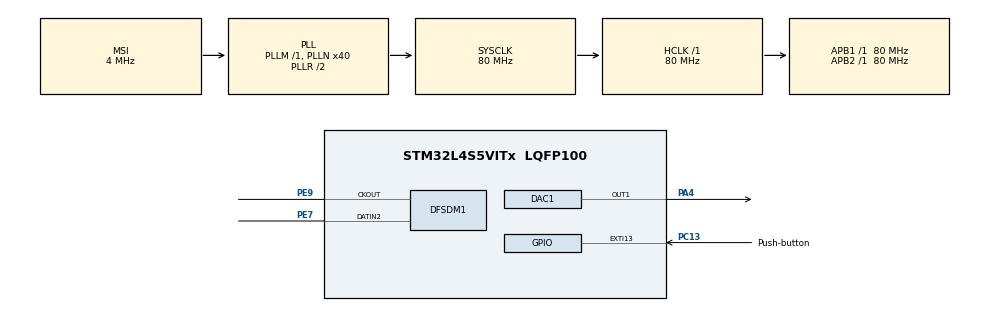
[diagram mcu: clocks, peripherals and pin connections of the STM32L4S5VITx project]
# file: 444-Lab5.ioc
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DAC1.DAC_Trigger-DAC_OUT1=DAC_TRIGGER_T2_TRGO
DFSDM1.Divider=34
DFSDM1.DmaMode_reg_FIL0=ENABLE
DFSDM1.FastMode_reg_FIL0=ENABLE
DFSDM1.Filter_regChannel_FIL0=DFSDM_CHANNEL_2
DFSDM1.Fosr_FIL0=240
DFSDM1.SincOrder_FIL0=DFSDM_FILTER_SINC3_ORDER
Dma.DAC1_CH1.1.Direction=DMA_MEMORY_TO_PERIPH
Dma.DAC1_CH1.1.EventEnable=DISABLE
Dma.DAC1_CH1.1.Instance=DMA1_Channel1
Dma.DAC1_CH1.1.MemDataAlignment=DMA_MDATAALIGN_WORD
Dma.DAC1_CH1.1.MemInc=DMA_MINC_ENABLE
Dma.DAC1_CH1.1.Mode=DMA_CIRCULAR
Dma.DAC1_CH1.1.PeriphDataAlignment=DMA_PDATAALIGN_WORD
Dma.DAC1_CH1.1.PeriphInc=DMA_PINC_DISABLE
Dma.DAC1_CH1.1.Polarity=HAL_DMAMUX_REQUEST_GEN_RISING
Dma.DAC1_CH1.1.Priority=DMA_PRIORITY_LOW
Dma.DAC1_CH1.1.RequestNumber=1
Dma.DAC1_CH1.1.SignalID=NONE
Dma.DAC1_CH1.1.SyncEnable=DISABLE
Dma.DAC1_CH1.1.SyncPolarity=HAL_DMAMUX_SYNC_NO_EVENT
Dma.DAC1_CH1.1.SyncRequestNumber=1
Dma.DAC1_CH1.1.SyncSignalID=NONE
Dma.DFSDM1_FLT0.0.Direction=DMA_PERIPH_TO_MEMORY
Dma.DFSDM1_FLT0.0.EventEnable=DISABLE
Dma.DFSDM1_FLT0.0.Instance=DMA1_Channel2
Dma.DFSDM1_FLT0.0.MemDataAlignment=DMA_MDATAALIGN_WORD
Dma.DFSDM1_FLT0.0.MemInc=DMA_MINC_ENABLE
Dma.DFSDM1_FLT0.0.Mode=DMA_NORMAL
Dma.DFSDM1_FLT0.0.PeriphDataAlignment=DMA_PDATAALIGN_WORD
Dma.DFSDM1_FLT0.0.PeriphInc=DMA_PINC_DISABLE
Dma.DFSDM1_FLT0.0.Polarity=HAL_DMAMUX_REQUEST_GEN_RISING
Dma.DFSDM1_FLT0.0.Priority=DMA_PRIORITY_LOW
Dma.DFSDM1_FLT0.0.RequestNumber=1
Dma.DFSDM1_FLT0.0.SignalID=NONE
Dma.DFSDM1_FLT0.0.SyncEnable=DISABLE
Dma.DFSDM1_FLT0.0.SyncPolarity=HAL_DMAMUX_SYNC_NO_EVENT
Dma.DFSDM1_FLT0.0.SyncRequestNumber=1
Dma.DFSDM1_FLT0.0.SyncSignalID=NONE
Dma.Request0=DFSDM1_FLT0
Dma.Request1=DAC1_CH1
Mcu.Family=STM32L4
Mcu.Name=STM32L4S5VITx
Mcu.Package=LQFP100
NVIC.DFSDM1_FLT0_IRQn=true\:0\:0\:false\:false\:true\:true\:true\:true
NVIC.DMA1_Channel1_IRQn=true\:0\:0\:false\:false\:true\:false\:true\:true
NVIC.DMA1_Channel2_IRQn=true\:0\:0\:false\:false\:true\:false\:true\:true
NVIC.EXTI15_10_IRQn=true\:0\:0\:false\:false\:true\:true\:true\:true
NVIC.PriorityGroup=NVIC_PRIORITYGROUP_4
NVIC.TIM2_IRQn=true\:0\:0\:false\:false\:true\:true\:true\:true
PA4.Signal=COMP_DAC11_group
PC13.GPIO_Label=Push-button
PC13.Signal=GPXTI13
PE7.Signal=S_DATAIN2DFSDM1
PE9.Signal=S_CKOUTDFSDM1
ProjectManager.HeapSize=0x200
ProjectManager.StackSize=0x400
ProjectManager.TargetToolchain=STM32CubeIDE
RCC.ADCFreq_Value=48000000
RCC.AHBFreq_Value=80000000
RCC.APB1Freq_Value=80000000
RCC.APB1TimFreq_Value=80000000
RCC.APB2Freq_Value=80000000
RCC.APB2TimFreq_Value=80000000
RCC.CortexFreq_Value=80000000
RCC.HCLKFreq_Value=80000000
RCC.HSE_VALUE=8000000
RCC.HSI48_VALUE=48000000
RCC.HSI_VALUE=16000000
RCC.LSE_VALUE=32768
RCC.MSI_VALUE=4000000
RCC.PLLN=40
RCC.PLLSAI1N=24
RCC.SYSCLKFreq_VALUE=80000000
RCC.SYSCLKSource=RCC_SYSCLKSOURCE_PLLCLK
RCC.USBFreq_Value=48000000
RCC.VCOOutputFreq_Value=160000000
SH.COMP_DAC11_group.0=DAC1_OUT1,DAC_OUT1
SH.S_CKOUTDFSDM1.0=DFSDM1_CKOUT,PDM_SPI_input_from_ch2_and_internal_clock
SH.S_CKOUTDFSDM1.1=DFSDM1_CKOUT,CKOUT
SH.S_DATAIN2DFSDM1.0=DFSDM1_DATIN2,PDM_SPI_input_from_ch2_and_internal_clock
TIM2.Period=8000
TIM2.TIM_MasterOutputTrigger=TIM_TRGO_UPDATE
VP_TIM2_VS_ClockSourceINT.Mode=Internal
board=B-L4S5I-IOT01A

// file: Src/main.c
/* USER CODE BEGIN Header */
/**
  ******************************************************************************
  * @file           : main.c
  * @brief          : Main program body
  ******************************************************************************
  * @attention
  *
  * Copyright (c) 2022 STMicroelectronics.
  * All rights reserved.
  *
  * This software is licensed under terms that can be found in the LICENSE file
  * in the root directory of this software component.
  * If no LICENSE file comes with this software, it is provided AS-IS.
  *
  ******************************************************************************
  */
/* USER CODE END Header */
#include "main.h"

DAC_HandleTypeDef hdac1;
DMA_HandleTypeDef hdma_dac1_ch1;

DFSDM_Filter_HandleTypeDef hdfsdm1_filter0;
DFSDM_Channel_HandleTypeDef hdfsdm1_channel2;
DMA_HandleTypeDef hdma_dfsdm1_flt0;

TIM_HandleTypeDef htim2;

/* USER CODE BEGIN PV */
#define BufferSize  30000
int32_t audioBuffer[BufferSize];	//audio buffer for  output
int32_t buffer[BufferSize];		//play back sound
uint32_t playBuffer[BufferSize];		//play back sound
/* USER CODE END PV */

void SystemClock_Config(void);
static void MX_GPIO_Init(void);
static void MX_DMA_Init(void);
static void MX_TIM2_Init(void);
static void MX_DFSDM1_Init(void);
static void MX_DAC1_Init(void);

int main(void)
{

  /* MCU Configuration--------------------------------------------------------*/

  /* Reset of all peripherals, Initializes the Flash interface and the Systick. */
  HAL_Init();
// counter : 10000, samplign 8000,

  /* Configure the system clock */
  SystemClock_Config();

  /* Initialize all configured peripherals */
  MX_GPIO_Init();
  MX_DMA_Init();
  MX_TIM2_Init();
  MX_DFSDM1_Init();
  MX_DAC1_Init();
  /* USER CODE BEGIN 2 */

  //Timer2 start to trigger DAC output
  HAL_TIM_Base_Start(&htim2);
  /* USER CODE END 2 */

  /* Infinite loop */
  while (1)
  {

  }
}

void SystemClock_Config(void)
{
  RCC_OscInitTypeDef RCC_OscInitStruct = {0};
  RCC_ClkInitTypeDef RCC_ClkInitStruct = {0};

  /** Configure the main internal regulator output voltage
  */
  if (HAL_PWREx_ControlVoltageScaling(PWR_REGULATOR_VOLTAGE_SCALE1) != HAL_OK)
  {
    Error_Handler();
  }

  /** Initializes the RCC Oscillators according to the specified parameters
  * in the RCC_OscInitTypeDef structure.
  */
  RCC_OscInitStruct.OscillatorType = RCC_OSCILLATORTYPE_MSI;
  RCC_OscInitStruct.MSIState = RCC_MSI_ON;
  RCC_OscInitStruct.MSICalibrationValue = 0;
  RCC_OscInitStruct.MSIClockRange = RCC_MSIRANGE_6;
  RCC_OscInitStruct.PLL.PLLState = RCC_PLL_ON;
  RCC_OscInitStruct.PLL.PLLSource = RCC_PLLSOURCE_MSI;
  RCC_OscInitStruct.PLL.PLLM = 1;
  RCC_OscInitStruct.PLL.PLLN = 40;
  RCC_OscInitStruct.PLL.PLLP = RCC_PLLP_DIV2;
  RCC_OscInitStruct.PLL.PLLQ = RCC_PLLQ_DIV2;
  RCC_OscInitStruct.PLL.PLLR = RCC_PLLR_DIV2;
  if (HAL_RCC_OscConfig(&RCC_OscInitStruct) != HAL_OK)
  {
    Error_Handler();
  }

  /** Initializes the CPU, AHB and APB buses clocks
  */
  RCC_ClkInitStruct.ClockType = RCC_CLOCKTYPE_HCLK|RCC_CLOCKTYPE_SYSCLK
                              |RCC_CLOCKTYPE_PCLK1|RCC_CLOCKTYPE_PCLK2;
  RCC_ClkInitStruct.SYSCLKSource = RCC_SYSCLKSOURCE_PLLCLK;
  RCC_ClkInitStruct.AHBCLKDivider = RCC_SYSCLK_DIV1;
  RCC_ClkInitStruct.APB1CLKDivider = RCC_HCLK_DIV1;
  RCC_ClkInitStruct.APB2CLKDivider = RCC_HCLK_DIV1;

  if (HAL_RCC_ClockConfig(&RCC_ClkInitStruct, FLASH_LATENCY_3) != HAL_OK)
  {
    Error_Handler();
  }
}

static void MX_DAC1_Init(void)
{

  DAC_ChannelConfTypeDef sConfig = {0};

  /** DAC Initialization
  */
  hdac1.Instance = DAC1;
  if (HAL_DAC_Init(&hdac1) != HAL_OK)
  {
    Error_Handler();
  }

  /** DAC channel OUT1 config
  */
  sConfig.DAC_SampleAndHold = DAC_SAMPLEANDHOLD_DISABLE;
  sConfig.DAC_Trigger = DAC_TRIGGER_T2_TRGO;
  sConfig.DAC_HighFrequency = DAC_HIGH_FREQUENCY_INTERFACE_MODE_ABOVE_80MHZ;
  sConfig.DAC_OutputBuffer = DAC_OUTPUTBUFFER_ENABLE;
  sConfig.DAC_ConnectOnChipPeripheral = DAC_CHIPCONNECT_DISABLE;
  sConfig.DAC_UserTrimming = DAC_TRIMMING_FACTORY;
  if (HAL_DAC_ConfigChannel(&hdac1, &sConfig, DAC_CHANNEL_1) != HAL_OK)
  {
    Error_Handler();
  }

}

static void MX_DFSDM1_Init(void)
{

  hdfsdm1_filter0.Instance = DFSDM1_Filter0;
  hdfsdm1_filter0.Init.RegularParam.Trigger = DFSDM_FILTER_SW_TRIGGER;
  hdfsdm1_filter0.Init.RegularParam.FastMode = ENABLE;
  hdfsdm1_filter0.Init.RegularParam.DmaMode = ENABLE;
  hdfsdm1_filter0.Init.FilterParam.SincOrder = DFSDM_FILTER_SINC3_ORDER;
  hdfsdm1_filter0.Init.FilterParam.Oversampling = 240;
  hdfsdm1_filter0.Init.FilterParam.IntOversampling = 1;
  if (HAL_DFSDM_FilterInit(&hdfsdm1_filter0) != HAL_OK)
  {
    Error_Handler();
  }
  hdfsdm1_channel2.Instance = DFSDM1_Channel2;
  hdfsdm1_channel2.Init.OutputClock.Activation = ENABLE;
  hdfsdm1_channel2.Init.OutputClock.Selection = DFSDM_CHANNEL_OUTPUT_CLOCK_SYSTEM;
  hdfsdm1_channel2.Init.OutputClock.Divider = 34;
  hdfsdm1_channel2.Init.Input.Multiplexer = DFSDM_CHANNEL_EXTERNAL_INPUTS;
  hdfsdm1_channel2.Init.Input.DataPacking = DFSDM_CHANNEL_STANDARD_MODE;
  hdfsdm1_channel2.Init.Input.Pins = DFSDM_CHANNEL_SAME_CHANNEL_PINS;
  hdfsdm1_channel2.Init.SerialInterface.Type = DFSDM_CHANNEL_SPI_RISING;
  hdfsdm1_channel2.Init.SerialInterface.SpiClock = DFSDM_CHANNEL_SPI_CLOCK_INTERNAL;
  hdfsdm1_channel2.Init.Awd.FilterOrder = DFSDM_CHANNEL_FASTSINC_ORDER;
  hdfsdm1_channel2.Init.Awd.Oversampling = 1;
  hdfsdm1_channel2.Init.Offset = 0;
  hdfsdm1_channel2.Init.RightBitShift = 0x00;
  if (HAL_DFSDM_ChannelInit(&hdfsdm1_channel2) != HAL_OK)
  {
    Error_Handler();
  }
  if (HAL_DFSDM_FilterConfigRegChannel(&hdfsdm1_filter0, DFSDM_CHANNEL_2, DFSDM_CONTINUOUS_CONV_ON) != HAL_OK)
  {
    Error_Handler();
  }

}

static void MX_TIM2_Init(void)
{

  TIM_ClockConfigTypeDef sClockSourceConfig = {0};
  TIM_MasterConfigTypeDef sMasterConfig = {0};

  htim2.Instance = TIM2;
  htim2.Init.Prescaler = 0;
  htim2.Init.CounterMode = TIM_COUNTERMODE_UP;
  htim2.Init.Period = 8000;
  htim2.Init.ClockDivision = TIM_CLOCKDIVISION_DIV1;
  htim2.Init.AutoReloadPreload = TIM_AUTORELOAD_PRELOAD_DISABLE;
  if (HAL_TIM_Base_Init(&htim2) != HAL_OK)
  {
    Error_Handler();
  }
  sClockSourceConfig.ClockSource = TIM_CLOCKSOURCE_INTERNAL;
  if (HAL_TIM_ConfigClockSource(&htim2, &sClockSourceConfig) != HAL_OK)
  {
    Error_Handler();
  }
  sMasterConfig.MasterOutputTrigger = TIM_TRGO_UPDATE;
  sMasterConfig.MasterSlaveMode = TIM_MASTERSLAVEMODE_DISABLE;
  if (HAL_TIMEx_MasterConfigSynchronization(&htim2, &sMasterConfig) != HAL_OK)
  {
    Error_Handler();
  }

}

static void MX_DMA_Init(void)
{

  /* DMA controller clock enable */
  __HAL_RCC_DMAMUX1_CLK_ENABLE();
  __HAL_RCC_DMA1_CLK_ENABLE();

  /* DMA interrupt init */
  /* DMA1_Channel1_IRQn interrupt configuration */
  HAL_NVIC_SetPriority(DMA1_Channel1_IRQn, 0, 0);
  HAL_NVIC_EnableIRQ(DMA1_Channel1_IRQn);
  /* DMA1_Channel2_IRQn interrupt configuration */
  HAL_NVIC_SetPriority(DMA1_Channel2_IRQn, 0, 0);
  HAL_NVIC_EnableIRQ(DMA1_Channel2_IRQn);

}

static void MX_GPIO_Init(void)
{
  GPIO_InitTypeDef GPIO_InitStruct = {0};

  /* GPIO Ports Clock Enable */
  __HAL_RCC_GPIOC_CLK_ENABLE();
  __HAL_RCC_GPIOA_CLK_ENABLE();
  __HAL_RCC_GPIOE_CLK_ENABLE();

  /*Configure GPIO pin : Push_button_Pin */
  GPIO_InitStruct.Pin = Push_button_Pin;
  GPIO_InitStruct.Mode = GPIO_MODE_IT_RISING;
  GPIO_InitStruct.Pull = GPIO_NOPULL;
  HAL_GPIO_Init(Push_button_GPIO_Port, &GPIO_InitStruct);

  /* EXTI interrupt init*/
  HAL_NVIC_SetPriority(EXTI15_10_IRQn, 0, 0);
  HAL_NVIC_EnableIRQ(EXTI15_10_IRQn);

}

/* USER CODE BEGIN 4 */
void HAL_GPIO_EXTI_Callback(uint16_t GPIO_Pin) {

	if(GPIO_Pin == Push_button_Pin) {
		//Stop last DMA
		HAL_DAC_Stop_DMA(&hdac1, DAC_CHANNEL_1);
		// Start DFSDM
		HAL_DFSDM_FilterRegularStart_DMA(&hdfsdm1_filter0, audioBuffer, BufferSize);

	}

}

void HAL_DFSDM_FilterRegConvCpltCallback(DFSDM_Filter_HandleTypeDef *hdfsdm_filter ) {

	HAL_DFSDM_FilterRegularStop_DMA(&hdfsdm1_filter0);

	for(uint32_t i = 0 ; i < BufferSize; i++ ){

		buffer[i] = audioBuffer[i] >> 8; // 24 bit signed  :  −8,388,608 : 8,388,607

		playBuffer[i] = (unsigned) ((1 << 24) + buffer[i]); // 2^24
		playBuffer[i] = playBuffer[i] >> 12; //12 bit data

	}
	HAL_DAC_Start_DMA(&hdac1, DAC_CHANNEL_1, (uint32_t*) playBuffer, BufferSize, DAC_ALIGN_12B_R);
}
/* USER CODE END 4 */

void Error_Handler(void)
{
  __disable_irq();
  while (1)
  {
  }
}
